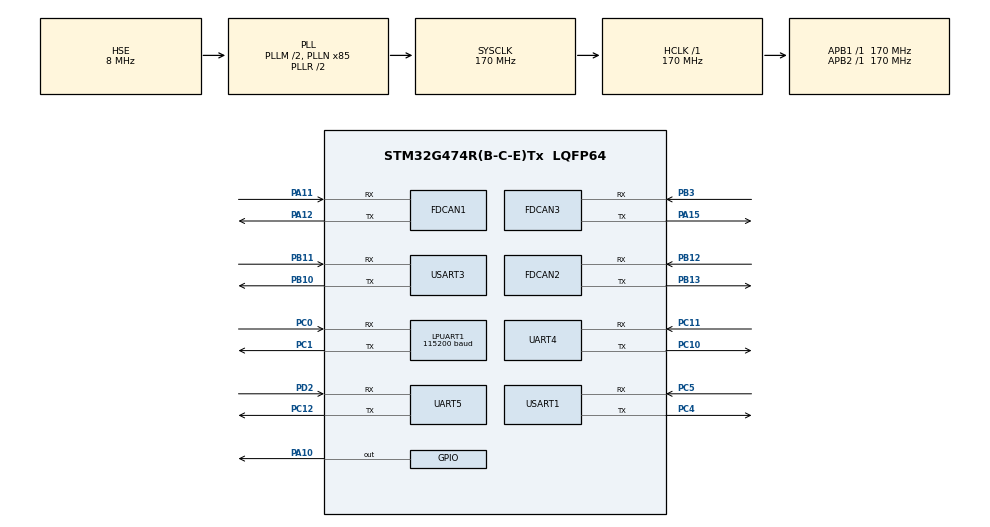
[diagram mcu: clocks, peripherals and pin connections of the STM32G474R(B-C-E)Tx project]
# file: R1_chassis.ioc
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Dma.Request0=UART5_RX
Dma.Request1=UART5_TX
Dma.UART5_RX.0.Direction=DMA_PERIPH_TO_MEMORY
Dma.UART5_RX.0.EventEnable=DISABLE
Dma.UART5_RX.0.Instance=DMA1_Channel1
Dma.UART5_RX.0.MemDataAlignment=DMA_MDATAALIGN_BYTE
Dma.UART5_RX.0.MemInc=DMA_MINC_ENABLE
Dma.UART5_RX.0.Mode=DMA_NORMAL
Dma.UART5_RX.0.PeriphDataAlignment=DMA_PDATAALIGN_BYTE
Dma.UART5_RX.0.PeriphInc=DMA_PINC_DISABLE
Dma.UART5_RX.0.Polarity=HAL_DMAMUX_REQ_GEN_RISING
Dma.UART5_RX.0.Priority=DMA_PRIORITY_LOW
Dma.UART5_RX.0.RequestNumber=1
Dma.UART5_RX.0.SignalID=NONE
Dma.UART5_RX.0.SyncEnable=DISABLE
Dma.UART5_RX.0.SyncPolarity=HAL_DMAMUX_SYNC_NO_EVENT
Dma.UART5_RX.0.SyncRequestNumber=1
Dma.UART5_RX.0.SyncSignalID=NONE
Dma.UART5_TX.1.Direction=DMA_MEMORY_TO_PERIPH
Dma.UART5_TX.1.EventEnable=DISABLE
Dma.UART5_TX.1.Instance=DMA1_Channel2
Dma.UART5_TX.1.MemDataAlignment=DMA_MDATAALIGN_BYTE
Dma.UART5_TX.1.MemInc=DMA_MINC_ENABLE
Dma.UART5_TX.1.Mode=DMA_NORMAL
Dma.UART5_TX.1.PeriphDataAlignment=DMA_PDATAALIGN_BYTE
Dma.UART5_TX.1.PeriphInc=DMA_PINC_DISABLE
Dma.UART5_TX.1.Polarity=HAL_DMAMUX_REQ_GEN_RISING
Dma.UART5_TX.1.Priority=DMA_PRIORITY_LOW
Dma.UART5_TX.1.RequestNumber=1
Dma.UART5_TX.1.SignalID=NONE
Dma.UART5_TX.1.SyncEnable=DISABLE
Dma.UART5_TX.1.SyncPolarity=HAL_DMAMUX_SYNC_NO_EVENT
Dma.UART5_TX.1.SyncRequestNumber=1
Dma.UART5_TX.1.SyncSignalID=NONE
FDCAN1.CalculateBaudRateNominal=1000000
FDCAN1.CalculateTimeBitNominal=1000
FDCAN1.CalculateTimeQuantumNominal=100.0
FDCAN1.DataPrescaler=8
FDCAN1.DataTimeSeg1=10
FDCAN1.DataTimeSeg2=5
FDCAN1.NominalPrescaler=17
FDCAN1.NominalTimeSeg1=6
FDCAN1.NominalTimeSeg2=3
FDCAN2.CalculateBaudRateNominal=1000000
FDCAN2.CalculateTimeBitNominal=1000
FDCAN2.CalculateTimeQuantumNominal=100.0
FDCAN2.DataPrescaler=8
FDCAN2.DataTimeSeg1=10
FDCAN2.DataTimeSeg2=5
FDCAN2.NominalPrescaler=17
FDCAN2.NominalTimeSeg1=6
FDCAN2.NominalTimeSeg2=3
FDCAN3.CalculateBaudRateNominal=999999
FDCAN3.CalculateTimeBitNominal=1000
FDCAN3.CalculateTimeQuantumNominal=58.82352941176471
FDCAN3.DataPrescaler=10
FDCAN3.DataTimeSeg1=12
FDCAN3.DataTimeSeg2=4
FDCAN3.NominalPrescaler=10
FDCAN3.NominalTimeSeg1=12
FDCAN3.NominalTimeSeg2=4
FREERTOS.Mutexes01=rc_mutex,Dynamic,NULL,Available
FREERTOS.Queues01=remote_queue,16,UartRxMessage_t,0,Dynamic,NULL,NULL
FREERTOS.Tasks01=Task_Printf,8,128,StartTask_Printf,As weak,NULL,Dynamic,NULL,NULL;Task_chassis,24,512,StartTask_chassis,As weak,NULL,Dynamic,NULL,NULL;Task_LED,8,128,StartTask_LED,As weak,NULL,Dynamic,NULL,NULL;Taskcommand,8,256,StartTaskcommand,As weak,NULL,Dynamic,NULL,NULL
FREERTOS.configCHECK_FOR_STACK_OVERFLOW=2
FREERTOS.configGENERATE_RUN_TIME_STATS=1
FREERTOS.configRECORD_STACK_HIGH_ADDRESS=1
LPUART1.BaudRate=115200
Mcu.Family=STM32G4
Mcu.Name=STM32G474R(B-C-E)Tx
Mcu.Package=LQFP64
NVIC.DMA1_Channel1_IRQn=true\:5\:0\:false\:false\:true\:true\:false\:true\:true
NVIC.DMA1_Channel2_IRQn=true\:5\:0\:false\:false\:true\:true\:false\:true\:true
NVIC.FDCAN1_IT0_IRQn=true\:5\:0\:false\:false\:true\:true\:true\:true\:true
NVIC.FDCAN1_IT1_IRQn=true\:5\:0\:false\:false\:true\:true\:true\:true\:true
NVIC.FDCAN2_IT0_IRQn=true\:5\:0\:false\:false\:true\:true\:true\:true\:true
NVIC.FDCAN2_IT1_IRQn=true\:5\:0\:false\:false\:true\:true\:true\:true\:true
NVIC.FDCAN3_IT0_IRQn=true\:5\:0\:false\:false\:true\:true\:true\:true\:true
NVIC.FDCAN3_IT1_IRQn=true\:5\:0\:false\:false\:true\:true\:true\:true\:true
NVIC.PriorityGroup=NVIC_PRIORITYGROUP_4
NVIC.TIM1_UP_TIM16_IRQn=true\:15\:0\:false\:false\:true\:false\:false\:true\:true
NVIC.TimeBase=TIM1_UP_TIM16_IRQn
NVIC.TimeBaseIP=TIM1
NVIC.UART4_IRQn=true\:5\:0\:false\:false\:true\:true\:true\:true\:true
NVIC.UART5_IRQn=true\:5\:0\:false\:false\:true\:true\:true\:true\:true
NVIC.USART1_IRQn=true\:5\:0\:false\:false\:true\:true\:true\:true\:true
NVIC.USART3_IRQn=true\:5\:0\:false\:false\:true\:true\:true\:true\:true
PA10.Signal=GPIO_Output
PA11.Mode=FDCAN_Activate
PA11.Signal=FDCAN1_RX
PA12.Mode=FDCAN_Activate
PA12.Signal=FDCAN1_TX
PA13.Mode=Serial_Wire
PA13.Signal=SYS_JTMS-SWDIO
PA14.Mode=Serial_Wire
PA14.Signal=SYS_JTCK-SWCLK
PA15.Mode=FDCAN_Activate
PA15.Signal=FDCAN3_TX
PB10.Mode=Asynchronous
PB10.Signal=USART3_TX
PB11.Mode=Asynchronous
PB11.Signal=USART3_RX
PB12.Mode=FDCAN_Activate
PB12.Signal=FDCAN2_RX
PB13.Mode=FDCAN_Activate
PB13.Signal=FDCAN2_TX
PB3.Mode=FDCAN_Activate
PB3.Signal=FDCAN3_RX
PC0.Mode=Asynchronous
PC0.Signal=LPUART1_RX
PC1.Mode=Asynchronous
PC1.Signal=LPUART1_TX
PC10.Mode=Asynchronous
PC10.Signal=UART4_TX
PC11.Mode=Asynchronous
PC11.Signal=UART4_RX
PC12.Mode=Asynchronous
PC12.Signal=UART5_TX
PC4.Mode=Asynchronous
PC4.Signal=USART1_TX
PC5.Mode=Asynchronous
PC5.Signal=USART1_RX
PD2.Mode=Asynchronous
PD2.Signal=UART5_RX
PF0-OSC_IN.Mode=HSE-External-Oscillator
PF0-OSC_IN.Signal=RCC_OSC_IN
PF1-OSC_OUT.Mode=HSE-External-Oscillator
PF1-OSC_OUT.Signal=RCC_OSC_OUT
ProjectManager.HeapSize=0x200
ProjectManager.StackSize=0x400
ProjectManager.TargetToolchain=CMake
RCC.ADC12Freq_Value=170000000
RCC.ADC345Freq_Value=170000000
RCC.AHBFreq_Value=170000000
RCC.APB1Freq_Value=170000000
RCC.APB1TimFreq_Value=170000000
RCC.APB2Freq_Value=170000000
RCC.APB2TimFreq_Value=170000000
RCC.CortexFreq_Value=170000000
RCC.EXTERNAL_CLOCK_VALUE=12288000
RCC.HCLKFreq_Value=170000000
RCC.HSE_VALUE=8000000
RCC.HSI48_VALUE=48000000
RCC.HSI_VALUE=16000000
RCC.LSE_VALUE=32768
RCC.PLLM=RCC_PLLM_DIV2
RCC.PLLN=85
RCC.PLLSourceVirtual=RCC_PLLSOURCE_HSE
RCC.SYSCLKFreq_VALUE=170000000
RCC.SYSCLKSource=RCC_SYSCLKSOURCE_PLLCLK
RCC.USBFreq_Value=170000000
RCC.VCOOutputFreq_Value=340000000
STMicroelectronics.X-CUBE-ALGOBUILD.1.4.0.LibraryCcDSPOoLibraryJjDSPOoLibrary=true
USART1.VirtualMode-Asynchronous=VM_ASYNC
USART3.VirtualMode-Asynchronous=VM_ASYNC
VP_FREERTOS_VS_CMSIS_V2.Mode=CMSIS_V2
VP_STMicroelectronics.X-CUBE-ALGOBUILD_VS_DSPOoLibraryJjLibrary_1.4.0_1.4.0.Mode=DSPOoLibraryJjLibrary
VP_SYS_VS_DBSignals.Mode=DisableDeadBatterySignals
VP_SYS_VS_tim1.Mode=TIM1
board=custom

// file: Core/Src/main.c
/* USER CODE BEGIN Header */
/**
  ******************************************************************************
  * @file           : main.c
  * @brief          : Main program body
  ******************************************************************************
  * @attention
  *
  * Copyright (c) 2025 STMicroelectronics.
  * All rights reserved.
  *
  * This software is licensed under terms that can be found in the LICENSE file
  * in the root directory of this software component.
  * If no LICENSE file comes with this software, it is provided AS-IS.
  *
  ******************************************************************************
  */
/* USER CODE END Header */
#include "main.h"
#include "cmsis_os.h"
#include "dma.h"
#include "fdcan.h"
#include "usart.h"
#include "gpio.h"

/* USER CODE BEGIN Includes */
#include <stdio.h>
#include "Task_command.h"
#include "fdcan_bsp.h"
#include "pid.h"
#include "SEGGER_RTT.h"
/* USER CODE END Includes */

/* USER CODE BEGIN PV */
volatile uint8_t RTT_BufferUp0[1024] = {0,};
volatile uint8_t RTT_BufferDown0[1024] = {0,};
/* USER CODE END PV */

void SystemClock_Config(void);
void MX_FREERTOS_Init(void);

/* USER CODE BEGIN 0 */

// 重定向printf
int __io_putchar(int ch) {
  HAL_UART_Transmit(&huart3, (uint8_t *)&ch, 1, HAL_MAX_DELAY);
  return ch;
}
/* USER CODE END 0 */

int main(void)
{

  /* MCU Configuration--------------------------------------------------------*/

  /* Reset of all peripherals, Initializes the Flash interface and the Systick. */
  HAL_Init();

  /* Configure the system clock */
  SystemClock_Config();

  /* Initialize all configured peripherals */
  MX_GPIO_Init();
  MX_DMA_Init();
  MX_USART1_UART_Init();
  MX_FDCAN1_Init();
  MX_FDCAN2_Init();
  MX_FDCAN3_Init();
  MX_UART4_Init();
  MX_UART5_Init();
  MX_USART3_UART_Init();
  MX_LPUART1_UART_Init();
  /* USER CODE BEGIN 2 */
  SEGGER_RTT_ConfigUpBuffer(0,                              // 通道0
                            "Buffer0Up",                    // 通道名字
                            (uint8_t*)&RTT_BufferUp0[0],    // 缓存地址
                            sizeof(RTT_BufferUp0),          // 缓存大小
                            SEGGER_RTT_MODE_NO_BLOCK_SKIP); // 非阻塞
  SEGGER_RTT_ConfigDownBuffer(0,                                // 通道0
                              "Buffer0Down",                    // 通道名字
                              (uint8_t*)&RTT_BufferDown0[0],    // 缓存地址
                              sizeof(RTT_BufferDown0),          // 缓存大小
                              SEGGER_RTT_MODE_NO_BLOCK_SKIP);   // 非阻塞

  //SEGGER_RTT_SetTerminal(0);                           // 设置终端0
  //SEGGER_RTT_printf(0, "OK!\n"); // 往通道0写入消息
  printf("Initial Success\r\n");

   Pid_parameter_init();
  /* USER CODE END 2 */

  /* Init scheduler */
  osKernelInitialize();  /* Call init function for freertos objects (in cmsis_os2.c) */
  MX_FREERTOS_Init();

  /* Start scheduler */
  osKernelStart();

  /* We should never get here as control is now taken by the scheduler */

  /* Infinite loop */
  while (1)
  {

  }
}

void SystemClock_Config(void)
{
  RCC_OscInitTypeDef RCC_OscInitStruct = {0};
  RCC_ClkInitTypeDef RCC_ClkInitStruct = {0};

  /** Configure the main internal regulator output voltage
  */
  HAL_PWREx_ControlVoltageScaling(PWR_REGULATOR_VOLTAGE_SCALE1_BOOST);

  /** Initializes the RCC Oscillators according to the specified parameters
  * in the RCC_OscInitTypeDef structure.
  */
  RCC_OscInitStruct.OscillatorType = RCC_OSCILLATORTYPE_HSE;
  RCC_OscInitStruct.HSEState = RCC_HSE_ON;
  RCC_OscInitStruct.PLL.PLLState = RCC_PLL_ON;
  RCC_OscInitStruct.PLL.PLLSource = RCC_PLLSOURCE_HSE;
  RCC_OscInitStruct.PLL.PLLM = RCC_PLLM_DIV2;
  RCC_OscInitStruct.PLL.PLLN = 85;
  RCC_OscInitStruct.PLL.PLLP = RCC_PLLP_DIV2;
  RCC_OscInitStruct.PLL.PLLQ = RCC_PLLQ_DIV2;
  RCC_OscInitStruct.PLL.PLLR = RCC_PLLR_DIV2;
  if (HAL_RCC_OscConfig(&RCC_OscInitStruct) != HAL_OK)
  {
    Error_Handler();
  }

  /** Initializes the CPU, AHB and APB buses clocks
  */
  RCC_ClkInitStruct.ClockType = RCC_CLOCKTYPE_HCLK|RCC_CLOCKTYPE_SYSCLK
                              |RCC_CLOCKTYPE_PCLK1|RCC_CLOCKTYPE_PCLK2;
  RCC_ClkInitStruct.SYSCLKSource = RCC_SYSCLKSOURCE_PLLCLK;
  RCC_ClkInitStruct.AHBCLKDivider = RCC_SYSCLK_DIV1;
  RCC_ClkInitStruct.APB1CLKDivider = RCC_HCLK_DIV1;
  RCC_ClkInitStruct.APB2CLKDivider = RCC_HCLK_DIV1;

  if (HAL_RCC_ClockConfig(&RCC_ClkInitStruct, FLASH_LATENCY_4) != HAL_OK)
  {
    Error_Handler();
  }
}

void HAL_TIM_PeriodElapsedCallback(TIM_HandleTypeDef *htim)
{
  if (htim->Instance == TIM1)
  {
    HAL_IncTick();
  }
}

void Error_Handler(void)
{
  __disable_irq();
  while (1)
  {
  }
}

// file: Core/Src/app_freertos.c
/* USER CODE BEGIN Header */
/**
  ******************************************************************************
  * File Name          : app_freertos.c
  * Description        : Code for freertos applications
  ******************************************************************************
  * @attention
  *
  * Copyright (c) 2025 STMicroelectronics.
  * All rights reserved.
  *
  * This software is licensed under terms that can be found in the LICENSE file
  * in the root directory of this software component.
  * If no LICENSE file comes with this software, it is provided AS-IS.
  *
  ******************************************************************************
  */
/* USER CODE END Header */

#include "FreeRTOS.h"
#include "task.h"
#include "main.h"
#include "cmsis_os.h"

/* USER CODE BEGIN Includes */
#include <stdio.h>
#include "Task_command.h"
/* USER CODE END Includes */

/* Definitions for Task_Printf */
osThreadId_t Task_PrintfHandle;
const osThreadAttr_t Task_Printf_attributes = {
  .name = "Task_Printf",
  .priority = (osPriority_t) osPriorityLow,
  .stack_size = 128 * 4
};
/* Definitions for Task_chassis */
osThreadId_t Task_chassisHandle;
const osThreadAttr_t Task_chassis_attributes = {
  .name = "Task_chassis",
  .priority = (osPriority_t) osPriorityNormal,
  .stack_size = 512 * 4
};
/* Definitions for Task_LED */
osThreadId_t Task_LEDHandle;
const osThreadAttr_t Task_LED_attributes = {
  .name = "Task_LED",
  .priority = (osPriority_t) osPriorityLow,
  .stack_size = 128 * 4
};
/* Definitions for Taskcommand */
osThreadId_t TaskcommandHandle;
const osThreadAttr_t Taskcommand_attributes = {
  .name = "Taskcommand",
  .priority = (osPriority_t) osPriorityLow,
  .stack_size = 256 * 4
};
/* Definitions for remote_queue */
osMessageQueueId_t remote_queueHandle;
const osMessageQueueAttr_t remote_queue_attributes = {
  .name = "remote_queue"
};
/* Definitions for rc_mutex */
osMutexId_t rc_mutexHandle;
const osMutexAttr_t rc_mutex_attributes = {
  .name = "rc_mutex"
};

void StartTask_Printf(void *argument);
void StartTask_chassis(void *argument);
void StartTask_LED(void *argument);
void StartTaskcommand(void *argument);

void MX_FREERTOS_Init(void); /* (MISRA C 2004 rule 8.1) */

/* Hook prototypes */
void configureTimerForRunTimeStats(void);
unsigned long getRunTimeCounterValue(void);
void vApplicationStackOverflowHook(xTaskHandle xTask, signed char *pcTaskName);

/* USER CODE BEGIN 1 */
/* Functions needed when configGENERATE_RUN_TIME_STATS is on */
__weak void configureTimerForRunTimeStats(void)
{

}

__weak unsigned long getRunTimeCounterValue(void)
{
return 0;
}
/* USER CODE END 1 */

/* USER CODE BEGIN 4 */
void vApplicationStackOverflowHook(xTaskHandle xTask, signed char *pcTaskName)
{
   /* Run time stack overflow checking is performed if
   configCHECK_FOR_STACK_OVERFLOW is defined to 1 or 2. This hook function is
   called if a stack overflow is detected. */
}
/* USER CODE END 4 */

void MX_FREERTOS_Init(void) {
  /* Create the mutex(es) */
  /* creation of rc_mutex */
  rc_mutexHandle = osMutexNew(&rc_mutex_attributes);

  /* Create the queue(s) */
  /* creation of remote_queue */
  remote_queueHandle = osMessageQueueNew (16, sizeof(UartRxMessage_t), &remote_queue_attributes);

  /* Create the thread(s) */
  /* creation of Task_Printf */
  Task_PrintfHandle = osThreadNew(StartTask_Printf, NULL, &Task_Printf_attributes);

  /* creation of Task_chassis */
  Task_chassisHandle = osThreadNew(StartTask_chassis, NULL, &Task_chassis_attributes);

  /* creation of Task_LED */
  Task_LEDHandle = osThreadNew(StartTask_LED, NULL, &Task_LED_attributes);

  /* creation of Taskcommand */
  TaskcommandHandle = osThreadNew(StartTaskcommand, NULL, &Taskcommand_attributes);

}

__weak void StartTask_Printf(void *argument)
{
  for(;;)
  {
    osDelay(1);
  }
}

__weak void StartTask_chassis(void *argument)
{
  for(;;)
  {
    osDelay(1);
  }
}

__weak void StartTask_LED(void *argument)
{
  for(;;)
  {
    osDelay(1);
  }
}

__weak void StartTaskcommand(void *argument)
{
  for(;;)
  {
    osDelay(1);
  }
}
